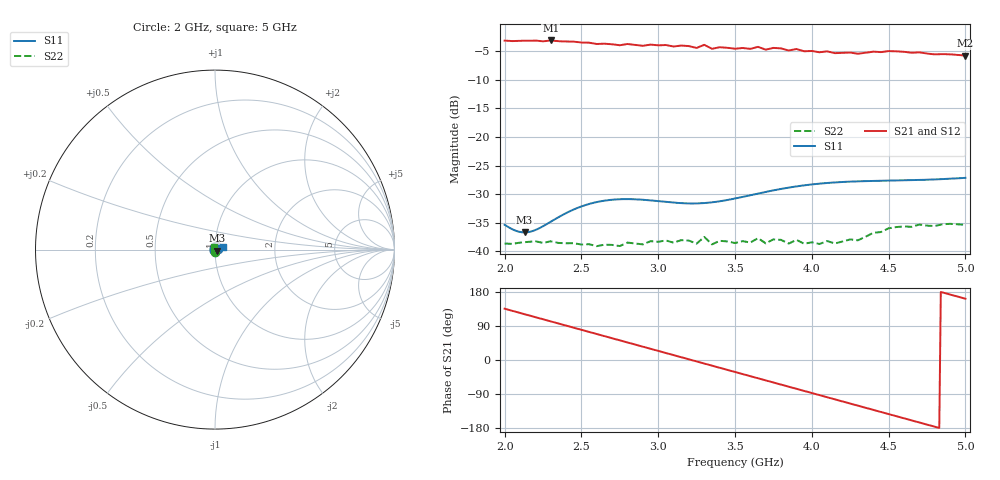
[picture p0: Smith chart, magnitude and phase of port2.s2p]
!Created with skrf (http://scikit-rf.org).
# MHz S RI R 50.0
!freq ReS11 ImS11 ReS21 ImS21 ReS12 ImS12 ReS22 ImS22
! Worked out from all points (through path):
!   301 points, 2 GHz to 5 GHz, reference 50 ohm
!   highest |S21| = -3.10 dB at 2.3 GHz (marker M1); lowest = -5.7 dB at 5 GHz (marker M2)
!   group delay of S21, straight-line fit = 309 ps
!   lowest |S11| = -36.7 dB at 2.13 GHz (marker M3), VSWR 1.03, Z = 51.3 - j0.664 ohm
!   |S11| at or under -10 dB: start of sweep to end of sweep
!   |S22| runs from -39.1 to -35.2 dB; largest |S21 - S12| = 0
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2000  0.0167 0.00364  -0.4965 0.4905  -0.4965 0.4905  -0.00178 -0.0116
2130  0.0132 -0.00647  -0.3569 0.5975  -0.3569 0.5975  -0.00555 -0.0107
2300  0.00563 -0.0173  -0.1443 0.6845  -0.1443 0.6845  -0.00975 -0.00747
2500  -0.00522 -0.0242  0.1208 0.66  0.1208 0.66  -0.0114 -0.00182
2750  -0.0177 -0.0225  0.3928 0.4991  0.3928 0.4991  -0.0096 0.00569
2800  -0.0197 -0.0209  0.4506 0.4704  0.4506 0.4704  -0.00924 0.00759
3000  -0.0252 -0.0112  0.5795 0.2579  0.5795 0.2579  -0.00277 0.0118
3150  -0.0264 -0.0018  0.6261 0.0804  0.6261 0.0804  0.00361 0.012
3250  -0.0259 0.00486  0.6004 -0.0399  0.6004 -0.0399  0.00705 0.00934
3300  -0.0252 0.00819  0.6325 -0.1042  0.6325 -0.1042  0.00984 0.0091
3350  -0.0243 0.0115  0.5713 -0.1521  0.5713 -0.1521  0.00971 0.00621
3400  -0.0232 0.0147  0.5719 -0.2135  0.5719 -0.2135  0.0115 0.00472
3500  -0.0204 0.0207  0.5045 -0.3101  0.5045 -0.3101  0.0118 0.000478
3650  -0.0149 0.0285  0.4097 -0.4588  0.4097 -0.4588  0.0117 -0.00594
3700  -0.0128 0.0306  0.3433 -0.4689  0.3433 -0.4689  0.00949 -0.00698
3750  -0.0106 0.0326  0.3071 -0.5181  0.3071 -0.5181  0.00892 -0.00912
3850  -0.00589 0.0357  0.1911 -0.5384  0.1911 -0.5384  0.00524 -0.0105
4000  0.00147 0.0385  0.0285 -0.5654  0.0285 -0.5654  0.000238 -0.012
4300  0.0162 0.0377  -0.2713 -0.4617  -0.2713 -0.4617  -0.00909 -0.00862
4500  0.0252 0.0331  -0.4491 -0.3425  -0.4491 -0.3425  -0.0156 -0.00324
4700  0.033 0.0263  -0.5317 -0.1435  -0.5317 -0.1435  -0.016 0.00617
5000  0.0419 0.0135  -0.4901 0.1617  -0.4901 0.1617  -0.0055 0.0162
